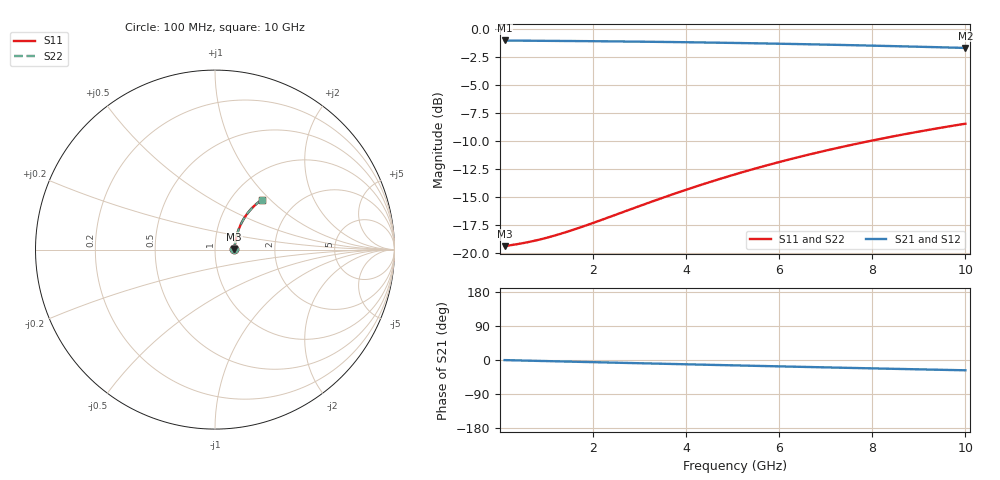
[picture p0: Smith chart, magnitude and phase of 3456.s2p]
# Hz S RI R 50.00
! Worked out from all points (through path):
!   100 points, 100 MHz to 10 GHz, reference 50 ohm
!   highest |S21| = -0.99 dB at 100 MHz (marker M1); lowest = -1.7 dB at 10 GHz (marker M2)
!   group delay of S21, straight-line fit = 7.57 ps
!   lowest |S11| = -19.4 dB at 100 MHz (marker M3), VSWR 1.24, Z = 62 + j0.434 ohm
!   |S11| at or under -10 dB: start of sweep to 7.916 GHz
!   |S22| runs from -19.4 to -8.4 dB; largest |S21 - S12| = 0
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1e8  0.1075 0.00346  0.8925 -0.00446  0.8925 -0.00446  0.1075 0.00346
5e8  0.1097 0.0172  0.8903 -0.0222  0.8903 -0.0222  0.1097 0.0172
7e8  0.1106 0.0241  0.8894 -0.0311  0.8894 -0.0311  0.1106 0.0241
9e8  0.1116 0.0309  0.8884 -0.0399  0.8884 -0.0399  0.1116 0.0309
1.1e9  0.1126 0.0377  0.8873 -0.0487  0.8873 -0.0487  0.1126 0.0377
1.3e9  0.1137 0.0444  0.8862 -0.0575  0.8862 -0.0575  0.1137 0.0444
1.5e9  0.115 0.0512  0.8849 -0.0662  0.8849 -0.0662  0.115 0.0512
1.8e9  0.117 0.0612  0.8828 -0.0793  0.8828 -0.0793  0.117 0.0612
2.6e9  0.1237 0.0876  0.8759 -0.1137  0.8759 -0.1137  0.1237 0.0876
3.4e9  0.1322 0.1132  0.8671 -0.1473  0.8671 -0.1473  0.1322 0.1132
3.9e9  0.1385 0.1287  0.8607 -0.1679  0.8607 -0.1679  0.1385 0.1287
4.3e9  0.144 0.1408  0.855 -0.184  0.855 -0.184  0.144 0.1408
4.7e9  0.1499 0.1527  0.8489 -0.1999  0.8489 -0.1999  0.1499 0.1527
5.1e9  0.1562 0.1643  0.8424 -0.2155  0.8424 -0.2155  0.1562 0.1643
5.5e9  0.1629 0.1755  0.8354 -0.2308  0.8354 -0.2308  0.1629 0.1755
5.9e9  0.17 0.1864  0.8281 -0.2457  0.8281 -0.2457  0.17 0.1864
6.3e9  0.1774 0.197  0.8204 -0.2603  0.8204 -0.2603  0.1774 0.197
6.7e9  0.1852 0.2071  0.8124 -0.2745  0.8124 -0.2745  0.1852 0.2071
7.5e9  0.2017 0.2264  0.7953 -0.3019  0.7953 -0.3019  0.2017 0.2264
8.4e9  0.2215 0.2462  0.7747 -0.3309  0.7747 -0.3309  0.2215 0.2462
9.2e9  0.2401 0.2622  0.7554 -0.355  0.7554 -0.355  0.2401 0.2622
1e10  0.2593 0.2765  0.7352 -0.3774  0.7352 -0.3774  0.2593 0.2765
